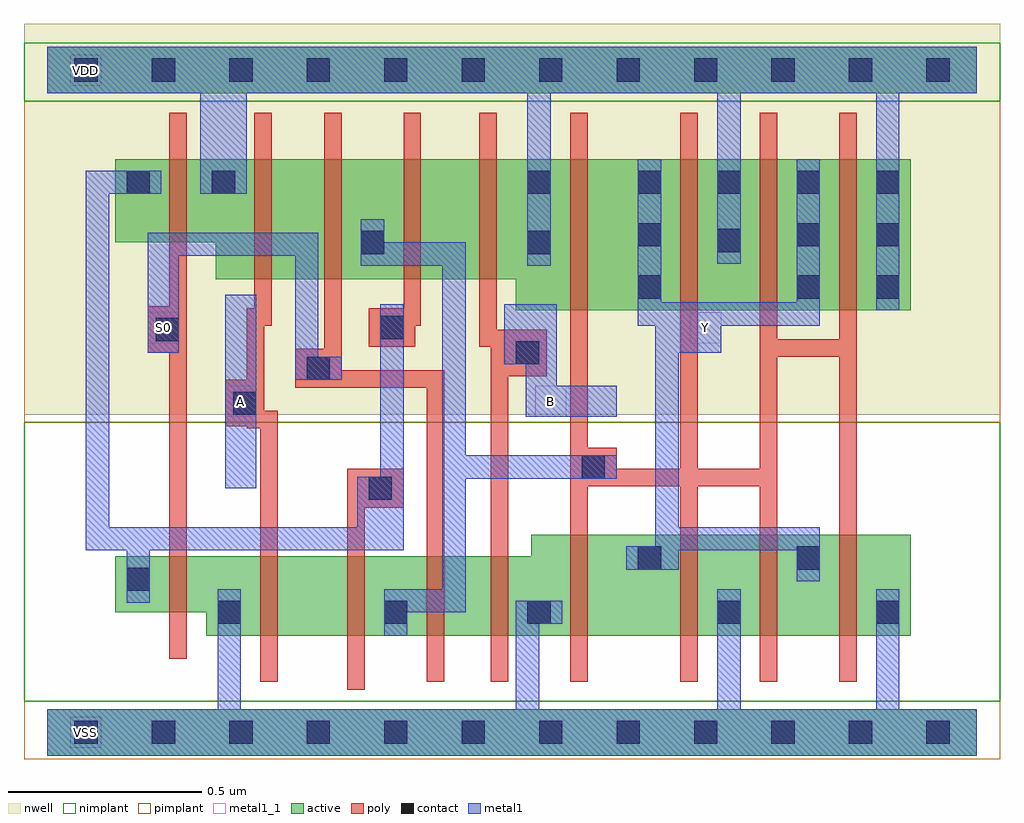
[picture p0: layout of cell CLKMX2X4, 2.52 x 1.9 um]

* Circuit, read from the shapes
.subckt CLKMX2X4 A B S0 VDD VSS Y
M1 VSS S0 n1 VSS nfet w=0.145u l=0.045u
M2 n2 A VSS VSS nfet w=0.205u l=0.045u
M3 n3 n1 n2 VSS nfet w=0.205u l=0.045u
M4 n4 S0 n3 VSS nfet w=0.205u l=0.045u
M5 VSS B n4 VSS nfet w=0.205u l=0.045u
M6 Y n3 VSS VSS nfet w=0.26u l=0.045u m=4
M7 VDD S0 n1 VDD pfet w=0.215u l=0.045u
M8 n5 A VDD VDD pfet w=0.31u l=0.045u
M9 n3 S0 n5 VDD pfet w=0.31u l=0.045u
M10 n6 n1 n3 VDD pfet w=0.31u l=0.045u
M11 VDD B n6 VDD pfet w=0.31u l=0.045u
M12 Y n3 VDD VDD pfet w=0.39u l=0.045u m=4
.ends

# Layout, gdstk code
import gdstk
lib = gdstk.Library(unit=1e-6, precision=5e-10)
def R(c, l, rs):  # rectangles x0, y0, x1, y1
    for r in rs: c.add(gdstk.rectangle(r[:2], r[2:], *l))
def A(c, l, x, y, w, h, nx, ny, dx, dy):  # array of equal rectangles
    R(c, l, [(x+i*dx, y+j*dy, x+i*dx+w, y+j*dy+h) for i in range(nx) for j in range(ny)])
def P(c, l, *ps):  # polygons
    for p in ps: c.add(gdstk.Polygon(p, *l))
active = (1, 0)
nwell = (2, 0)
poly = (3, 0)
nimplant = (4, 0)
pimplant = (5, 0)
contact = (6, 0)
metal1 = (7, 0)
metal1_1 = (7, 1)

clkmx2x4 = lib.new_cell('CLKMX2X4')
R(clkmx2x4, active, [(0,-0.06,2.4,0.06), (0,1.65,2.4,1.77)])
P(clkmx2x4, active, [(0.175,1.48),(2.23,1.48),(2.23,1.09),(1.21,1.09),(1.21,1.17),(0.435,1.17),(0.435,1.265),(0.175,1.265)],
  [(1.25,0.51),(2.23,0.51),(2.23,0.25),(0.41,0.25),(0.41,0.31),(0.175,0.31),(0.175,0.455),(1.25,0.455)])
R(clkmx2x4, nwell, [(-0.06,0.82,2.46,1.83)])
P(clkmx2x4, poly, [(0.315,1.6),(0.36,1.6),(0.36,0.19),(0.315,0.19),(0.315,0.98),(0.26,0.98),(0.26,1.1),(0.315,1.1)],
  [(0.535,1.6),(0.58,1.6),(0.58,1.05),(0.56,1.05),(0.56,0.83),(0.595,0.83),(0.595,0.13),(0.55,0.13),(0.55,0.785),(0.515,0.785),(0.515,0.79),(0.46,0.79),(0.46,0.91),(0.515,0.91),(0.515,1.095),(0.535,1.095)],
  [(0.715,1.6),(0.76,1.6),(0.76,0.935),(1.025,0.935),(1.025,0.13),(0.98,0.13),(0.98,0.89),(0.64,0.89),(0.64,0.99),(0.715,0.99)],
  [(0.92,1.6),(0.965,1.6),(0.965,1.05),(0.95,1.05),(0.95,0.995),(0.83,0.995),(0.83,1.095),(0.92,1.095)],
  [(1.115,1.6),(1.16,1.6),(1.16,1.04),(1.29,1.04),(1.29,0.92),(1.19,0.92),(1.19,0.13),(1.145,0.13),(1.145,0.995),(1.115,0.995)],
  [(1.35,1.6),(1.395,1.6),(1.395,0.735),(1.47,0.735),(1.47,0.68),(1.635,0.68),(1.635,1.6),(1.68,1.6),(1.68,0.68),(1.84,0.68),(1.84,1.6),(1.885,1.6),(1.885,1.015),(2.045,1.015),(2.045,1.6),(2.09,1.6),(2.09,0.13),(2.045,0.13),(2.045,0.97),(1.885,0.97),(1.885,0.13),(1.84,0.13),(1.84,0.635),(1.68,0.635),(1.68,0.13),(1.635,0.13),(1.635,0.635),(1.395,0.635),(1.395,0.13),(1.35,0.13)],
  [(0.775,0.68),(0.92,0.68),(0.92,0.58),(0.82,0.58),(0.82,0.11),(0.775,0.11)])
R(clkmx2x4, nimplant, [(-0.06,0.08,2.46,0.8), (-0.06,1.63,2.46,1.78)])
R(clkmx2x4, pimplant, [(-0.06,-0.07,2.46,0.08), (-0.06,0.8,2.46,1.63)])
A(clkmx2x4, contact, 0.07, -0.03, 0.06, 0.06, 12, 2, 0.2, 1.71)
A(clkmx2x4, contact, 1.525, 1.39, 0.06, 0.06, 4, 1, 0.205, 0)
R(clkmx2x4, contact, [(0.44,0.28,0.5,0.34), (0.87,0.28,0.93,0.34), (1.24,0.28,1.3,0.34), (1.73,0.28,1.79,0.34), (2.14,0.28,2.2,0.34), (0.205,0.365,0.265,0.425), (1.525,0.42,1.585,0.48), (1.935,0.42,1.995,0.48), (0.83,0.6,0.89,0.66), (1.38,0.655,1.44,0.715), (0.48,0.82,0.54,0.88), (0.67,0.91,0.73,0.97), (1.21,0.95,1.27,1.01), (0.28,1.01,0.34,1.07), (0.86,1.015,0.92,1.075), (1.525,1.12,1.585,1.18), (1.935,1.12,1.995,1.18), (2.14,1.12,2.2,1.18), (0.81,1.235,0.87,1.295), (1.24,1.235,1.3,1.295), (1.73,1.24,1.79,1.3), (1.525,1.255,1.585,1.315), (1.935,1.255,1.995,1.315), (2.14,1.255,2.2,1.315), (0.205,1.39,0.265,1.45), (0.425,1.39,0.485,1.45), (1.24,1.39,1.3,1.45)])
R(clkmx2x4, metal1, [(0.46,0.63,0.54,1.13)])
P(clkmx2x4, metal1, [(0,1.77),(2.4,1.77),(2.4,1.65),(2.2,1.65),(2.2,1.09),(2.14,1.09),(2.14,1.65),(1.79,1.65),(1.79,1.21),(1.73,1.21),(1.73,1.65),(1.3,1.65),(1.3,1.205),(1.24,1.205),(1.24,1.65),(0.515,1.65),(0.515,1.39),(0.395,1.39),(0.395,1.65),(0,1.65)],
  [(0.1,1.45),(0.295,1.45),(0.295,1.39),(0.16,1.39),(0.16,0.53),(0.8,0.53),(0.8,0.66),(0.86,0.66),(0.86,1.105),(0.92,1.105),(0.92,0.47),(0.265,0.47),(0.265,0.335),(0.205,0.335),(0.205,0.47),(0.1,0.47)],
  [(0.81,1.325),(0.87,1.325),(0.87,1.265),(1.08,1.265),(1.08,0.715),(1.47,0.715),(1.47,0.655),(1.08,0.655),(1.08,0.31),(0.93,0.31),(0.93,0.25),(0.87,0.25),(0.87,0.37),(1.02,0.37),(1.02,1.205),(0.81,1.205)],
  [(0.26,1.29),(0.7,1.29),(0.7,0.97),(0.76,0.97),(0.76,0.91),(0.64,0.91),(0.64,1.23),(0.34,1.23),(0.34,0.98),(0.26,0.98)],
  [(1.525,1.48),(1.585,1.48),(1.585,1.11),(1.935,1.11),(1.935,1.48),(1.995,1.48),(1.995,1.05),(1.74,1.05),(1.74,0.98),(1.63,0.98),(1.63,0.53),(1.995,0.53),(1.995,0.39),(1.935,0.39),(1.935,0.47),(1.63,0.47),(1.63,0.42),(1.495,0.42),(1.495,0.48),(1.57,0.48),(1.57,1.05),(1.525,1.05)],
  [(1.18,1.105),(1.315,1.105),(1.315,0.895),(1.47,0.895),(1.47,0.815),(1.235,0.815),(1.235,0.95),(1.18,0.95)],
  [(0.44,0.37),(0.5,0.37),(0.5,0.06),(1.21,0.06),(1.21,0.34),(1.33,0.34),(1.33,0.28),(1.27,0.28),(1.27,0.06),(1.73,0.06),(1.73,0.37),(1.79,0.37),(1.79,0.06),(2.14,0.06),(2.14,0.37),(2.2,0.37),(2.2,0.06),(2.4,0.06),(2.4,-0.06),(0,-0.06),(0,0.06),(0.44,0.06)])
R(clkmx2x4, metal1_1, [(0.06,-0.04,0.14,0.04), (0.46,0.815,0.54,0.895), (1.26,0.815,1.34,0.895), (0.26,1.005,0.34,1.085), (1.66,1.005,1.74,1.085), (0.06,1.67,0.14,1.75)])
clkmx2x4.add(gdstk.Label('Y', (1.7,1.045), layer=7, texttype=1))
clkmx2x4.add(gdstk.Label('B', (1.3,0.855), layer=7, texttype=1))
clkmx2x4.add(gdstk.Label('A', (0.5,0.855), layer=7, texttype=1))
clkmx2x4.add(gdstk.Label('S0', (0.3,1.045), layer=7, texttype=1))
clkmx2x4.add(gdstk.Label('VDD', (0.1,1.71), layer=7, texttype=1))
clkmx2x4.add(gdstk.Label('VSS', (0.1,0), layer=7, texttype=1))
clkmx2x4.add(gdstk.Label('CLKMX2X4', (0,0), layer=63, texttype=0))

lib.write_gds('CLKMX2X4.gds')
